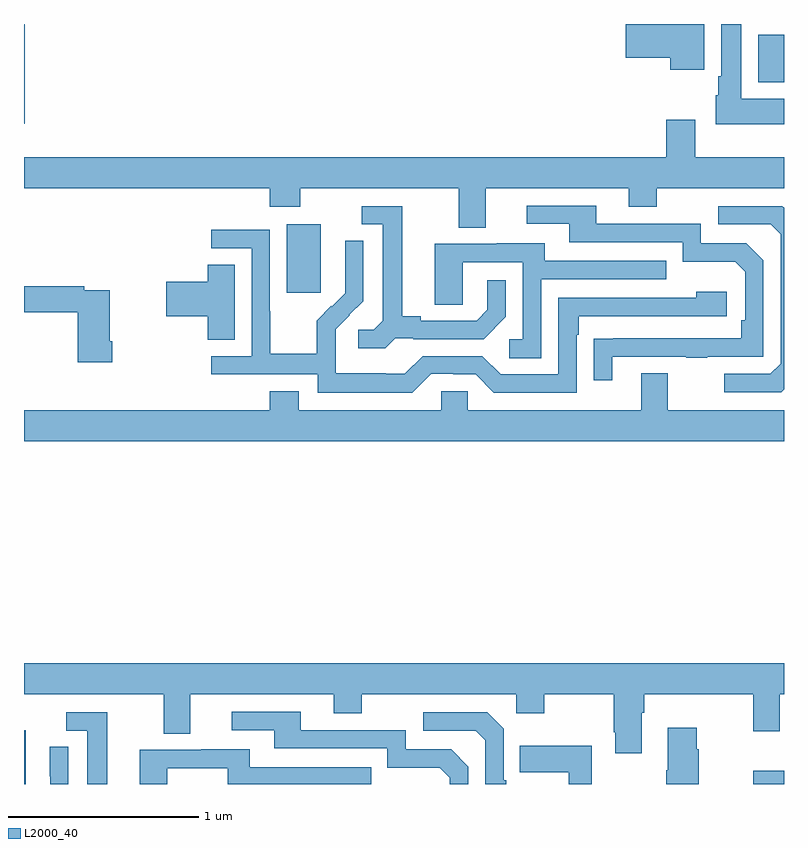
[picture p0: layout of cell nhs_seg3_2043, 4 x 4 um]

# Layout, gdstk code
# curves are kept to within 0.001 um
import gdstk
lib = gdstk.Library(unit=1e-6, precision=1e-09)
def R(c, l, rs):  # rectangles x0, y0, x1, y1
    for r in rs: c.add(gdstk.rectangle(r[:2], r[2:], *l))
def P(c, l, *ps):  # polygons
    for p in ps: c.add(gdstk.Polygon(p, *l))
L2000_40 = (2000, 40)

nhs_seg3_2043 = lib.new_cell('nhs_seg3_2043')
R(nhs_seg3_2043, L2000_40, [(215,744.4,215.008,744.682), (218.839,744.4,219,744.469), (216.383,746.985,216.562,747.346), (215,747.876,215.003,748.4), (218.865,748.094,219,748.344)])
P(nhs_seg3_2043, L2000_40, [(219,748.006),(218.776,748.006),(218.776,748.4),(218.669,748.4),(218.669,748.126),(218.654,748.126),(218.654,748.026),(218.642,748.026),(218.642,747.872),(219,747.872)],
  [(218.581,748.4),(218.168,748.4),(218.168,748.223),(218.402,748.223),(218.402,748.16),(218.581,748.16)],
  [(217.429,747.536),(218.183,747.536),(218.183,747.437),(218.331,747.437),(218.331,747.536),(219,747.536),(219,747.7),(218.533,747.7),(218.533,747.895),(218.381,747.895),(218.381,747.7),(215,747.7),(215,747.536),(216.293,747.536),(216.293,747.437),(216.453,747.437),(216.453,747.536),(217.289,747.536),(217.289,747.328),(217.429,747.328)],
  [(218.095,746.649),(218.485,746.649),(218.485,746.644),(218.597,746.644),(218.597,746.649),(218.892,746.649),(218.892,747.156),(218.802,747.246),(218.562,747.246),(218.562,747.348),(218.011,747.348),(218.011,747.444),(217.647,747.444),(217.647,747.348),(217.871,747.348),(217.871,747.252),(218.466,747.252),(218.466,747.149),(218.743,747.149),(218.796,747.096),(218.796,746.842),(218.776,746.842),(218.776,746.745),(217.999,746.744),(217.999,746.526),(218.095,746.526)],
  [(216.954,746.745),(217.048,746.745),(217.048,746.742),(217.42,746.742),(217.536,746.858),(217.536,747.052),(217.439,747.052),(217.439,746.895),(217.382,746.838),(217.087,746.838),(217.087,746.861),(216.991,746.861),(216.991,747.441),(216.777,747.441),(216.777,747.345),(216.887,747.345),(216.887,746.837),(216.84,746.79),(216.759,746.79),(216.759,746.693),(216.902,746.693)],
  [(219,746.478),(219,747.432),(218.991,747.441),(218.655,747.441),(218.655,747.345),(218.931,747.345),(218.982,747.294),(218.982,746.613),(218.928,746.559),(218.685,746.559),(218.685,746.463),(218.985,746.463)],
  [(217.143,746.559),(217.259,746.559),(217.259,746.556),(217.377,746.556),(217.473,746.46),(217.908,746.46),(217.908,746.765),(217.921,746.765),(217.921,746.862),(218.698,746.862),(218.698,746.992),(218.537,746.992),(218.537,746.958),(217.812,746.958),(217.812,746.556),(217.509,746.556),(217.413,746.652),(217.098,746.652),(217.005,746.559),(216.905,746.559),(216.905,746.563),(216.642,746.563),(216.642,746.697),(216.64,746.697),(216.64,746.794),(216.786,746.942),(216.786,747.26),(216.69,747.26),(216.69,747.106),(216.692,747.106),(216.692,746.984),(216.621,746.913),(216.618,746.916),(216.541,746.839),(216.541,746.665),(216.297,746.665),(216.297,746.888),(216.294,746.888),(216.294,747.318),(215.985,747.318),(215.985,747.219),(216.198,747.219),(216.198,746.652),(215.985,746.652),(215.985,746.556),(216.546,746.556),(216.546,746.459),(217.043,746.459)],
  [(217.722,747.057),(218.381,747.057),(218.381,747.153),(217.741,747.153),(217.741,747.247),(217.487,747.247),(217.487,747.243),(217.163,747.243),(217.163,746.923),(217.308,746.923),(217.308,747.147),(217.626,747.147),(217.626,746.742),(217.554,746.742),(217.554,746.641),(217.722,746.641)],
  [(216.109,747.134),(215.966,747.134),(215.966,747.044),(215.748,747.044),(215.748,746.861),(215.966,746.861),(215.966,746.737),(216.109,746.737)],
  [(215.465,746.731),(215.452,746.731),(215.452,747),(215.318,747),(215.318,747.02),(215,747.02),(215,746.884),(215.282,746.884),(215.282,746.619),(215.465,746.619)],
  [(219,746.368),(218.389,746.368),(218.389,746.563),(218.249,746.563),(218.249,746.368),(217.335,746.368),(217.335,746.466),(217.197,746.466),(217.197,746.368),(216.445,746.368),(216.445,746.467),(216.293,746.467),(216.293,746.368),(215,746.368),(215,746.204),(219,746.204)],
  [(218.251,744.776),(218.264,744.776),(218.264,744.872),(218.837,744.872),(218.837,744.678),(218.977,744.678),(218.977,744.872),(219,744.872),(219,745.036),(215,745.036),(215,744.872),(215.735,744.872),(215.735,744.664),(215.875,744.664),(215.875,744.872),(216.629,744.872),(216.629,744.773),(216.777,744.773),(216.777,744.872),(217.59,744.872),(217.59,744.773),(217.737,744.773),(217.737,744.872),(218.104,744.872),(218.104,744.673),(218.111,744.673),(218.111,744.561),(218.251,744.561)],
  [(217.338,744.492),(217.248,744.582),(217.008,744.582),(217.008,744.684),(216.457,744.684),(216.457,744.78),(216.093,744.78),(216.093,744.684),(216.317,744.684),(216.317,744.588),(216.912,744.588),(216.912,744.485),(217.189,744.485),(217.242,744.432),(217.242,744.4),(217.338,744.4)],
  [(215.437,744.777),(215.223,744.777),(215.223,744.681),(215.333,744.681),(215.333,744.4),(215.437,744.4)],
  [(217.537,744.421),(217.524,744.421),(217.524,744.69),(217.437,744.777),(217.101,744.777),(217.101,744.681),(217.377,744.681),(217.428,744.63),(217.428,744.4),(217.537,744.4)],
  [(218.55,744.584),(218.542,744.584),(218.542,744.697),(218.387,744.697),(218.387,744.473),(218.38,744.473),(218.38,744.4),(218.55,744.4)],
  [(217.987,744.601),(217.609,744.601),(217.609,744.461),(217.866,744.461),(217.866,744.4),(217.987,744.4)],
  [(215.232,744.596),(215.136,744.596),(215.136,744.442),(215.138,744.442),(215.138,744.4),(215.232,744.4)],
  [(215.754,744.483),(216.072,744.483),(216.072,744.4),(216.827,744.4),(216.827,744.489),(216.187,744.489),(216.187,744.583),(215.933,744.583),(215.933,744.579),(215.609,744.579),(215.609,744.4),(215.754,744.4)])

lib.write_gds('nhs_seg3_2043.gds')
